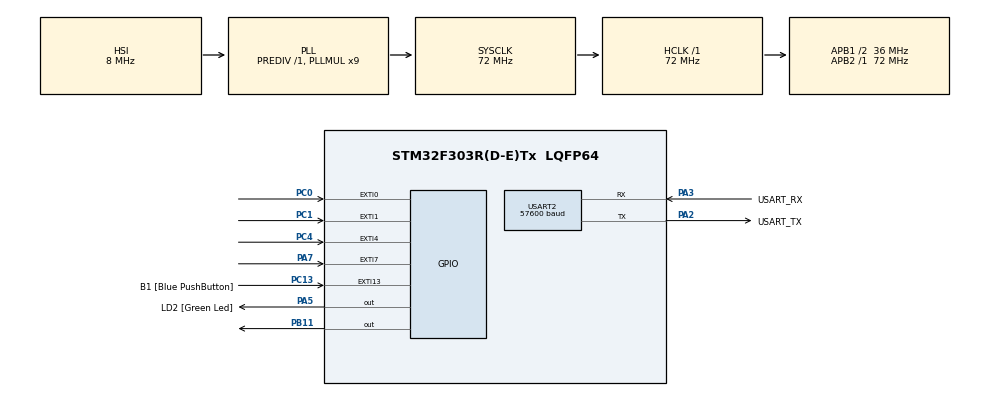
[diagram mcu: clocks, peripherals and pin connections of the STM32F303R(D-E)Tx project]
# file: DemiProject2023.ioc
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Mcu.Family=STM32F3
Mcu.Name=STM32F303R(D-E)Tx
Mcu.Package=LQFP64
NVIC.EXTI0_IRQn=true\:0\:0\:false\:false\:true\:true\:true\:true
NVIC.EXTI1_IRQn=true\:0\:0\:false\:false\:true\:true\:true\:true
NVIC.EXTI4_IRQn=true\:0\:0\:false\:false\:true\:true\:true\:true
NVIC.EXTI9_5_IRQn=true\:0\:0\:false\:false\:true\:true\:true\:true
NVIC.PriorityGroup=NVIC_PRIORITYGROUP_0
NVIC.USART2_IRQn=true\:0\:0\:false\:false\:true\:true\:true\:true
PA13.GPIO_Label=TMS
PA13.Mode=Serial_Wire
PA13.Signal=SYS_JTMS-SWDIO
PA14.GPIO_Label=TCK
PA14.Mode=Serial_Wire
PA14.Signal=SYS_JTCK-SWCLK
PA2.GPIO_Label=USART_TX
PA2.GPIO_Mode=GPIO_MODE_AF_PP
PA2.GPIO_PuPd=GPIO_NOPULL
PA2.GPIO_Speed=GPIO_SPEED_FREQ_LOW
PA2.Mode=Asynchronous
PA2.Signal=USART2_TX
PA3.GPIO_Label=USART_RX
PA3.GPIO_Mode=GPIO_MODE_AF_PP
PA3.GPIO_PuPd=GPIO_NOPULL
PA3.GPIO_Speed=GPIO_SPEED_FREQ_LOW
PA3.Mode=Asynchronous
PA3.Signal=USART2_RX
PA5.GPIO_Label=LD2 [Green Led]
PA5.GPIO_Mode=GPIO_MODE_OUTPUT_PP
PA5.GPIO_PuPd=GPIO_NOPULL
PA5.GPIO_Speed=GPIO_SPEED_FREQ_LOW
PA5.Signal=GPIO_Output
PA7.GPIO_ModeDefaultEXTI=GPIO_MODE_IT_FALLING
PA7.GPIO_PuPd=GPIO_PULLUP
PA7.Signal=GPXTI7
PB11.Signal=GPIO_Output
PB3.GPIO_Label=SWO
PB3.Signal=SYS_JTDO-TRACESWO
PC0.GPIO_ModeDefaultEXTI=GPIO_MODE_IT_FALLING
PC0.Signal=GPXTI0
PC1.GPIO_ModeDefaultEXTI=GPIO_MODE_IT_FALLING
PC1.Signal=GPXTI1
PC13.GPIO_Label=B1 [Blue PushButton]
PC13.GPIO_ModeDefaultEXTI=GPIO_MODE_IT_FALLING
PC13.Signal=GPXTI13
PC14-OSC32_IN.Mode=LSE-External-Oscillator
PC14-OSC32_IN.Signal=RCC_OSC32_IN
PC15-OSC32_OUT.Mode=LSE-External-Oscillator
PC15-OSC32_OUT.Signal=RCC_OSC32_OUT
PC4.GPIO_ModeDefaultEXTI=GPIO_MODE_IT_FALLING
PC4.GPIO_PuPd=GPIO_PULLUP
PC4.Signal=GPXTI4
PF0-OSC_IN.Mode=HSE-External-Clock-Source
PF0-OSC_IN.Signal=RCC_OSC_IN
PF1-OSC_OUT.Signal=RCC_OSC_OUT
ProjectManager.HeapSize=0x200
ProjectManager.StackSize=0x400
ProjectManager.TargetToolchain=STM32CubeIDE
RCC.AHBFreq_Value=72000000
RCC.APB1CLKDivider=RCC_HCLK_DIV2
RCC.APB1Freq_Value=36000000
RCC.APB1TimFreq_Value=72000000
RCC.APB2Freq_Value=72000000
RCC.APB2TimFreq_Value=72000000
RCC.CortexFreq_Value=72000000
RCC.HCLKFreq_Value=72000000
RCC.HSE_VALUE=8000000
RCC.HSI_VALUE=8000000
RCC.PLLM=8
RCC.PLLMUL=RCC_PLL_MUL9
RCC.PLLN=336
RCC.PLLP=RCC_PLLP_DIV4
RCC.PLLQ=7
RCC.RCC_PLLsource_Clock_Source_FROM_HSE=RCC_HSE_PREDIV_DIV2
RCC.SYSCLKFreq_VALUE=72000000
RCC.SYSCLKSourceVirtual=RCC_SYSCLKSOURCE_PLLCLK
RCC.USBFreq_Value=72000000
USART2.BaudRate=57600
USART2.StopBits=STOPBITS_2
USART2.VirtualMode-Asynchronous=VM_ASYNC
board=NUCLEO-F303RE

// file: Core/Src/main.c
/* USER CODE BEGIN Header */
/**
  ******************************************************************************
  * @file           : main.c
  * @brief          : Main program body
  ******************************************************************************
  * @attention
  *
  * Copyright (c) 2023 STMicroelectronics.
  * All rights reserved.
  *
  * This software is licensed under terms that can be found in the LICENSE file
  * in the root directory of this software component.
  * If no LICENSE file comes with this software, it is provided AS-IS.
  *
  ******************************************************************************
  */
/* USER CODE END Header */
#include "main.h"

UART_HandleTypeDef huart2;

/* USER CODE BEGIN PV */

extern uint8_t UART_Recieve;  // UART echo flag

uint8_t buttonpresdout[4];
uint16_t buttonctr = 0;

extern uint8_t middleButton;  // External variable flag for button debounce.
extern uint8_t topButton;
extern uint8_t right_button;
extern uint8_t left_button;

uint32_t current_time = 0;
uint32_t previous_time = 0;

uint8_t mbp = 0;
uint8_t mbpf = 0;

uint8_t rxdata[20];
uint8_t msg[20];
uint8_t send_request_msg[19];
uint8_t decode = 0;
int j = 0;

/* USER CODE END PV */

void SystemClock_Config(void);
static void MX_GPIO_Init(void);
static void MX_USART2_UART_Init(void);
/* USER CODE BEGIN PFP */

void echo(void);

void buttondebounce(void);

void IsButtonPressed(void);
void convertfunc(void);

void decode_func(void);
void set_mode_func(void);
void request_mode_func(void);

/* USER CODE END PFP */

/* USER CODE BEGIN 0 */

void HAL_UART_RxCpltCallback(UART_HandleTypeDef *huart) {

	msg[j] = rxdata[0];
	if(msg[j] == 10)  // Checking for the new line character
	{
		decode = 1;
	}
	HAL_UART_Receive_IT(&huart2, rxdata, 1);
	j = j+1;
 }

/* USER CODE END 0 */

int main(void)
{

  /* MCU Configuration--------------------------------------------------------*/

  /* Reset of all peripherals, Initializes the Flash interface and the Systick. */
  HAL_Init();

  /* Configure the system clock */
  SystemClock_Config();

  /* Initialize all configured peripherals */
  MX_GPIO_Init();
  MX_USART2_UART_Init();
  /* USER CODE BEGIN 2 */

  HAL_UART_Transmit(&huart2, (uint8_t*) "#:22569081:$\n", 13, 50);

  HAL_UART_Receive_IT(&huart2, rxdata, 1);

  /* USER CODE END 2 */

  /* Infinite loop */
  /* USER CODE BEGIN WHILE */
  while (1)
  {
	  HAL_UART_Receive_IT(&huart2, rxdata, 1);

	  if(decode == 1)
	  {
		  decode_func();
	  }

	  buttondebounce();

    /* USER CODE END WHILE */

  }
}

void SystemClock_Config(void)
{
  RCC_OscInitTypeDef RCC_OscInitStruct = {0};
  RCC_ClkInitTypeDef RCC_ClkInitStruct = {0};
  RCC_PeriphCLKInitTypeDef PeriphClkInit = {0};

  /** Initializes the RCC Oscillators according to the specified parameters
  * in the RCC_OscInitTypeDef structure.
  */
  RCC_OscInitStruct.OscillatorType = RCC_OSCILLATORTYPE_HSI;
  RCC_OscInitStruct.HSIState = RCC_HSI_ON;
  RCC_OscInitStruct.HSICalibrationValue = RCC_HSICALIBRATION_DEFAULT;
  RCC_OscInitStruct.PLL.PLLState = RCC_PLL_ON;
  RCC_OscInitStruct.PLL.PLLSource = RCC_PLLSOURCE_HSI;
  RCC_OscInitStruct.PLL.PLLMUL = RCC_PLL_MUL9;
  RCC_OscInitStruct.PLL.PREDIV = RCC_PREDIV_DIV1;
  if (HAL_RCC_OscConfig(&RCC_OscInitStruct) != HAL_OK)
  {
    Error_Handler();
  }

  /** Initializes the CPU, AHB and APB buses clocks
  */
  RCC_ClkInitStruct.ClockType = RCC_CLOCKTYPE_HCLK|RCC_CLOCKTYPE_SYSCLK
                              |RCC_CLOCKTYPE_PCLK1|RCC_CLOCKTYPE_PCLK2;
  RCC_ClkInitStruct.SYSCLKSource = RCC_SYSCLKSOURCE_PLLCLK;
  RCC_ClkInitStruct.AHBCLKDivider = RCC_SYSCLK_DIV1;
  RCC_ClkInitStruct.APB1CLKDivider = RCC_HCLK_DIV2;
  RCC_ClkInitStruct.APB2CLKDivider = RCC_HCLK_DIV1;

  if (HAL_RCC_ClockConfig(&RCC_ClkInitStruct, FLASH_LATENCY_2) != HAL_OK)
  {
    Error_Handler();
  }
  PeriphClkInit.PeriphClockSelection = RCC_PERIPHCLK_USART2;
  PeriphClkInit.Usart2ClockSelection = RCC_USART2CLKSOURCE_PCLK1;
  if (HAL_RCCEx_PeriphCLKConfig(&PeriphClkInit) != HAL_OK)
  {
    Error_Handler();
  }
}

static void MX_USART2_UART_Init(void)
{

  huart2.Instance = USART2;
  huart2.Init.BaudRate = 57600;
  huart2.Init.WordLength = UART_WORDLENGTH_8B;
  huart2.Init.StopBits = UART_STOPBITS_2;
  huart2.Init.Parity = UART_PARITY_NONE;
  huart2.Init.Mode = UART_MODE_TX_RX;
  huart2.Init.HwFlowCtl = UART_HWCONTROL_NONE;
  huart2.Init.OverSampling = UART_OVERSAMPLING_16;
  huart2.Init.OneBitSampling = UART_ONE_BIT_SAMPLE_DISABLE;
  huart2.AdvancedInit.AdvFeatureInit = UART_ADVFEATURE_NO_INIT;
  if (HAL_UART_Init(&huart2) != HAL_OK)
  {
    Error_Handler();
  }

}

static void MX_GPIO_Init(void)
{
  GPIO_InitTypeDef GPIO_InitStruct = {0};

  /* GPIO Ports Clock Enable */
  __HAL_RCC_GPIOC_CLK_ENABLE();
  __HAL_RCC_GPIOF_CLK_ENABLE();
  __HAL_RCC_GPIOA_CLK_ENABLE();
  __HAL_RCC_GPIOB_CLK_ENABLE();

  /*Configure GPIO pin Output Level */
  HAL_GPIO_WritePin(LD2_GPIO_Port, LD2_Pin, GPIO_PIN_RESET);

  /*Configure GPIO pin Output Level */
  HAL_GPIO_WritePin(GPIOB, GPIO_PIN_11, GPIO_PIN_RESET);

  /*Configure GPIO pins : B1_Pin PC0 PC1 */
  GPIO_InitStruct.Pin = B1_Pin|GPIO_PIN_0|GPIO_PIN_1;
  GPIO_InitStruct.Mode = GPIO_MODE_IT_FALLING;
  GPIO_InitStruct.Pull = GPIO_NOPULL;
  HAL_GPIO_Init(GPIOC, &GPIO_InitStruct);

  /*Configure GPIO pin : LD2_Pin */
  GPIO_InitStruct.Pin = LD2_Pin;
  GPIO_InitStruct.Mode = GPIO_MODE_OUTPUT_PP;
  GPIO_InitStruct.Pull = GPIO_NOPULL;
  GPIO_InitStruct.Speed = GPIO_SPEED_FREQ_LOW;
  HAL_GPIO_Init(LD2_GPIO_Port, &GPIO_InitStruct);

  /*Configure GPIO pin : PA7 */
  GPIO_InitStruct.Pin = GPIO_PIN_7;
  GPIO_InitStruct.Mode = GPIO_MODE_IT_FALLING;
  GPIO_InitStruct.Pull = GPIO_PULLUP;
  HAL_GPIO_Init(GPIOA, &GPIO_InitStruct);

  /*Configure GPIO pin : PC4 */
  GPIO_InitStruct.Pin = GPIO_PIN_4;
  GPIO_InitStruct.Mode = GPIO_MODE_IT_FALLING;
  GPIO_InitStruct.Pull = GPIO_PULLUP;
  HAL_GPIO_Init(GPIOC, &GPIO_InitStruct);

  /*Configure GPIO pin : PB11 */
  GPIO_InitStruct.Pin = GPIO_PIN_11;
  GPIO_InitStruct.Mode = GPIO_MODE_OUTPUT_PP;
  GPIO_InitStruct.Pull = GPIO_NOPULL;
  GPIO_InitStruct.Speed = GPIO_SPEED_FREQ_LOW;
  HAL_GPIO_Init(GPIOB, &GPIO_InitStruct);

  /* EXTI interrupt init*/
  HAL_NVIC_SetPriority(EXTI0_IRQn, 0, 0);
  HAL_NVIC_EnableIRQ(EXTI0_IRQn);

  HAL_NVIC_SetPriority(EXTI1_IRQn, 0, 0);
  HAL_NVIC_EnableIRQ(EXTI1_IRQn);

  HAL_NVIC_SetPriority(EXTI4_IRQn, 0, 0);
  HAL_NVIC_EnableIRQ(EXTI4_IRQn);

  HAL_NVIC_SetPriority(EXTI9_5_IRQn, 0, 0);
  HAL_NVIC_EnableIRQ(EXTI9_5_IRQn);

}

/* USER CODE BEGIN 4 */

void buttondebounce(void)
{
	if(middleButton == 1)
	{
		current_time = HAL_GetTick();
		if(current_time - previous_time > 50)
		{
			mbp = HAL_GPIO_ReadPin(GPIOC, GPIO_PIN_1);

			if(mbp == 1)
			{
				HAL_GPIO_TogglePin(GPIOB, GPIO_PIN_11);

				buttonctr++;

				convertfunc();

				HAL_UART_Transmit(&huart2,(uint8_t*) buttonpresdout, sizeof(buttonpresdout), 100);
			}
			previous_time = current_time;
		}
	}
	middleButton = 0;
}

// This code is currently not used.

void convertfunc()
{
	buttonpresdout[0] = (buttonctr / 100) + '0';  // Hundreds
	buttonpresdout[1] = ((buttonctr / 10) % 10)+ '0';  // Tens
	buttonpresdout[2] = (buttonctr % 10)+ '0';  // Ones
	buttonpresdout[3] = '\n';
}

void decode_func()
{
	if(msg[0] == '#'){
		if(msg[1] == ':'){
			if(msg[4] == ':'){
				if(msg[5] == '$')
				{
					request_mode_func();
				}

				if(msg[8] == ':'){
					if(msg[12] == ':'){
						if(msg[16] == ':'){
							if(msg[17] == '$'){

								set_mode_func();
							}
						}
					}
				}
			}
		}
	}
}

void set_mode_func()
{
	if((msg[2] == 'M') && (msg[17] == '$')){
		if(msg[3] == 'F'){

			//Flashlight mode
		}
		else if(msg[3] == 'E'){

			// Emergency mode
		}
		else if(msg[3] == 'M'){

			//mood mode
		}
	}
}

void request_mode_func()
{
	if((msg[2] == 'M') && (msg[5] == '$')){
		if(msg[3] == 'F'){

			send_request_msg[0] = '#';
			send_request_msg[1] = ':';
			send_request_msg[2] = 'M';
			send_request_msg[3] = 'F';
			send_request_msg[4] = ':';
			// State
			send_request_msg[5] = '0'; // This will actually be a variable one from the adc.
			send_request_msg[6] = '0'; // This will actually be a variable one from the adc.
			send_request_msg[7] = '0'; // This will actually be a variable one from the adc.
			send_request_msg[8] = ':';
			// Param1
			send_request_msg[9] = '0';
			send_request_msg[10] = '0';
			send_request_msg[11] = '0';
			send_request_msg[12] = ':';
			// Param2
			send_request_msg[13] = '0';
			send_request_msg[14] = '0';
			send_request_msg[15] = '0';
			send_request_msg[16] = ':';

			send_request_msg[17] = '$';
			send_request_msg[18] = 10;

			HAL_UART_Transmit(&huart2, (uint8_t*) send_request_msg, 19, 100);

		}
		if(msg[3] == 'E'){

			send_request_msg[0] = '#';
			send_request_msg[1] = ':';
			send_request_msg[2] = 'M';
			send_request_msg[3] = 'E';
			send_request_msg[4] = ':';
			// State
			send_request_msg[5] = '0'; // This will actually be a variable one from the adc.
			send_request_msg[6] = '0'; // This will actually be a variable one from the adc.
			send_request_msg[7] = '0'; // This will actually be a variable one from the adc.
			send_request_msg[8] = ':';
			// Param1
			send_request_msg[9] = '0'; // This will actually be a variable "on" time.
			send_request_msg[10] = '0'; // This will actually be a variable "on" time.
			send_request_msg[11] = '0'; // This will actually be a variable "on" time.
			send_request_msg[12] = ':';
			// Param2
			send_request_msg[13] = '0'; // This will be SOS from the morse code
			send_request_msg[14] = '0'; // This will be SOS from the morse code
			send_request_msg[15] = '0'; // This will be SOS from the morse code
			send_request_msg[16] = ':';

			send_request_msg[17] = '$';
			send_request_msg[18] = 10;

		}
		if(msg[3] == 'M'){

			send_request_msg[0] = '#';
			send_request_msg[1] = ':';
			send_request_msg[2] = 'M';
			send_request_msg[3] = 'M';
			send_request_msg[4] = ':';
			// State
			send_request_msg[5] = '0';  // This will be the intensity of the R channel of the RGB
			send_request_msg[6] = '0';  // This will be the intensity of the R channel of the RGB
			send_request_msg[7] = '0';  // This will be the intensity of the R channel of the RGB
			send_request_msg[8] = ':';
			// Param1
			send_request_msg[9] = '0';  // This will be the intensity of the G channel of the RGB
			send_request_msg[10] = '0'; // This will be the intensity of the G channel of the RGB
			send_request_msg[11] = '0'; // This will be the intensity of the G channel of the RGB
			send_request_msg[12] = ':';
			// Param2
			send_request_msg[13] = '0'; // This will be the intensity of the B channel of the RGB
			send_request_msg[14] = '0'; // This will be the intensity of the B channel of the RGB
			send_request_msg[15] = '0'; // This will be the intensity of the B channel of the RGB
			send_request_msg[16] = ':';

			send_request_msg[17] = '$';
			send_request_msg[18] = 10;
		}
	}
}

/* USER CODE END 4 */

void Error_Handler(void)
{
  __disable_irq();
  while (1)
  {
  }
}
